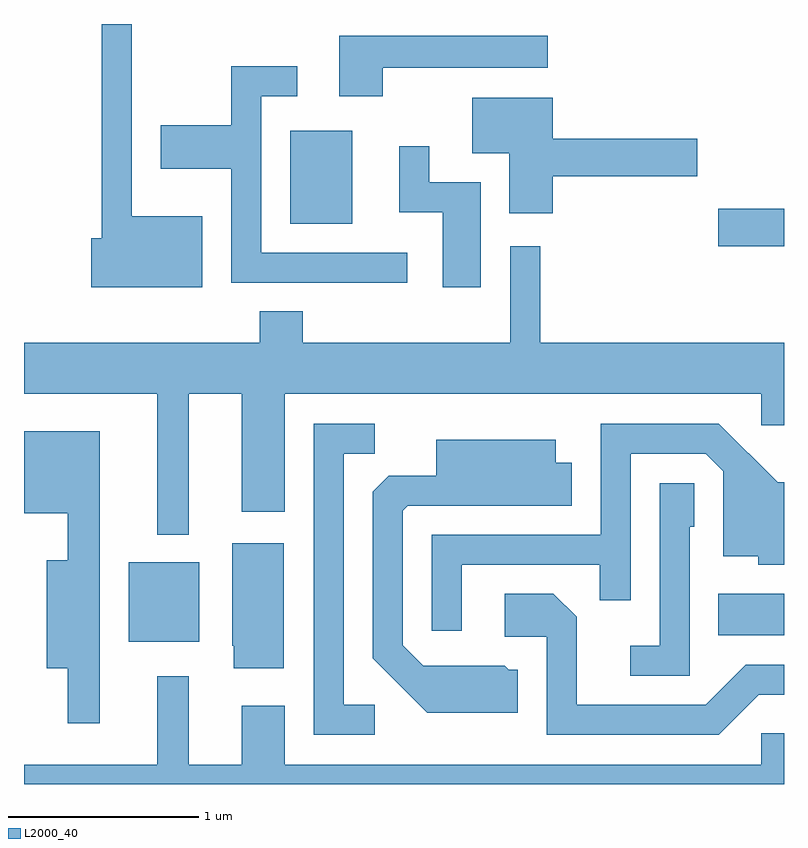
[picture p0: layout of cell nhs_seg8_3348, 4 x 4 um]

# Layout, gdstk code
import gdstk
lib = gdstk.Library(unit=1e-6, precision=1e-09)
def R(c, l, rs):  # rectangles x0, y0, x1, y1
    for r in rs: c.add(gdstk.rectangle(r[:2], r[2:], *l))
def P(c, l, *ps):  # polygons
    for p in ps: c.add(gdstk.Polygon(p, *l))
L2000_40 = (2000, 40)

nhs_seg8_3348 = lib.new_cell('nhs_seg8_3348')
R(nhs_seg8_3348, L2000_40, [(286.161,1855.091,286.534,1855.509), (289.266,1855.126,289.611,1855.344), (289.266,1857.171,289.611,1857.369), (287.011,1857.291,287.339,1857.779)])
P(nhs_seg8_3348, L2000_40, [(286.549,1857.329),(286.179,1857.329),(286.179,1858.342),(286.021,1858.342),(286.021,1857.214),(285.966,1857.214),(285.966,1856.956),(286.549,1856.956)],
  [(287.499,1858.111),(288.368,1858.111),(288.368,1858.279),(287.271,1858.279),(287.271,1857.961),(287.499,1857.961)],
  [(287.628,1857.139),(286.859,1857.139),(286.859,1857.961),(287.048,1857.961),(287.048,1858.119),(286.701,1858.119),(286.701,1857.809),(286.331,1857.809),(286.331,1857.581),(286.701,1857.581),(286.701,1856.981),(287.628,1856.981)],
  [(288.394,1857.541),(289.154,1857.541),(289.154,1857.739),(288.394,1857.739),(288.394,1857.954),(287.971,1857.954),(287.971,1857.661),(288.166,1857.661),(288.166,1857.346),(288.394,1857.346)],
  [(288.014,1857.509),(287.744,1857.509),(287.744,1857.698),(287.586,1857.698),(287.586,1857.351),(287.816,1857.351),(287.816,1856.956),(288.014,1856.956)],
  [(286.479,1856.396),(286.756,1856.396),(286.756,1855.776),(286.984,1855.776),(286.984,1856.396),(289.491,1856.396),(289.491,1856.231),(289.611,1856.231),(289.611,1856.664),(288.329,1856.664),(288.329,1857.173),(288.171,1857.173),(288.171,1856.664),(287.079,1856.664),(287.079,1856.829),(286.851,1856.829),(286.851,1856.664),(285.611,1856.664),(285.611,1856.396),(286.311,1856.396),(286.311,1855.653),(286.479,1855.653)],
  [(287.914,1855.496),(288.641,1855.496),(288.641,1855.308),(288.804,1855.308),(288.804,1856.081),(289.199,1856.081),(289.291,1855.989),(289.291,1855.541),(289.476,1855.541),(289.476,1855.496),(289.611,1855.496),(289.611,1855.929),(289.577,1855.929),(289.267,1856.239),(288.646,1856.239),(288.646,1855.654),(287.756,1855.654),(287.756,1855.148),(287.914,1855.148)],
  [(287.458,1854.759),(287.294,1854.759),(287.294,1856.081),(287.458,1856.081),(287.458,1856.239),(287.136,1856.239),(287.136,1854.601),(287.458,1854.601)],
  [(286.009,1856.199),(285.611,1856.199),(285.611,1855.766),(285.841,1855.766),(285.841,1855.519),(285.731,1855.519),(285.731,1854.951),(285.841,1854.951),(285.841,1854.663),(286.009,1854.663)],
  [(288.209,1854.944),(288.162,1854.944),(288.142,1854.964),(287.712,1854.964),(287.604,1855.072),(287.604,1855.779),(287.632,1855.806),(288.494,1855.806),(288.494,1856.034),(288.409,1856.034),(288.409,1856.154),(287.781,1856.154),(287.781,1855.964),(287.532,1855.964),(287.446,1855.879),(287.446,1855.004),(287.734,1854.716),(288.209,1854.716)],
  [(289.114,1855.696),(289.139,1855.696),(289.139,1855.924),(288.956,1855.924),(288.956,1855.069),(288.803,1855.069),(288.803,1854.911),(289.114,1854.911)],
  [(286.979,1855.609),(286.706,1855.609),(286.706,1855.07),(286.716,1855.07),(286.716,1854.951),(286.979,1854.951)],
  [(289.477,1854.811),(289.611,1854.811),(289.611,1854.969),(289.409,1854.969),(289.199,1854.759),(288.519,1854.759),(288.519,1855.222),(288.397,1855.344),(288.141,1855.344),(288.141,1855.116),(288.361,1855.116),(288.361,1854.601),(289.267,1854.601)],
  [(289.611,1854.609),(289.491,1854.609),(289.491,1854.444),(286.984,1854.444),(286.984,1854.754),(286.756,1854.754),(286.756,1854.444),(286.479,1854.444),(286.479,1854.908),(286.311,1854.908),(286.311,1854.444),(285.611,1854.444),(285.611,1854.342),(289.611,1854.342)])

lib.write_gds('nhs_seg8_3348.gds')
